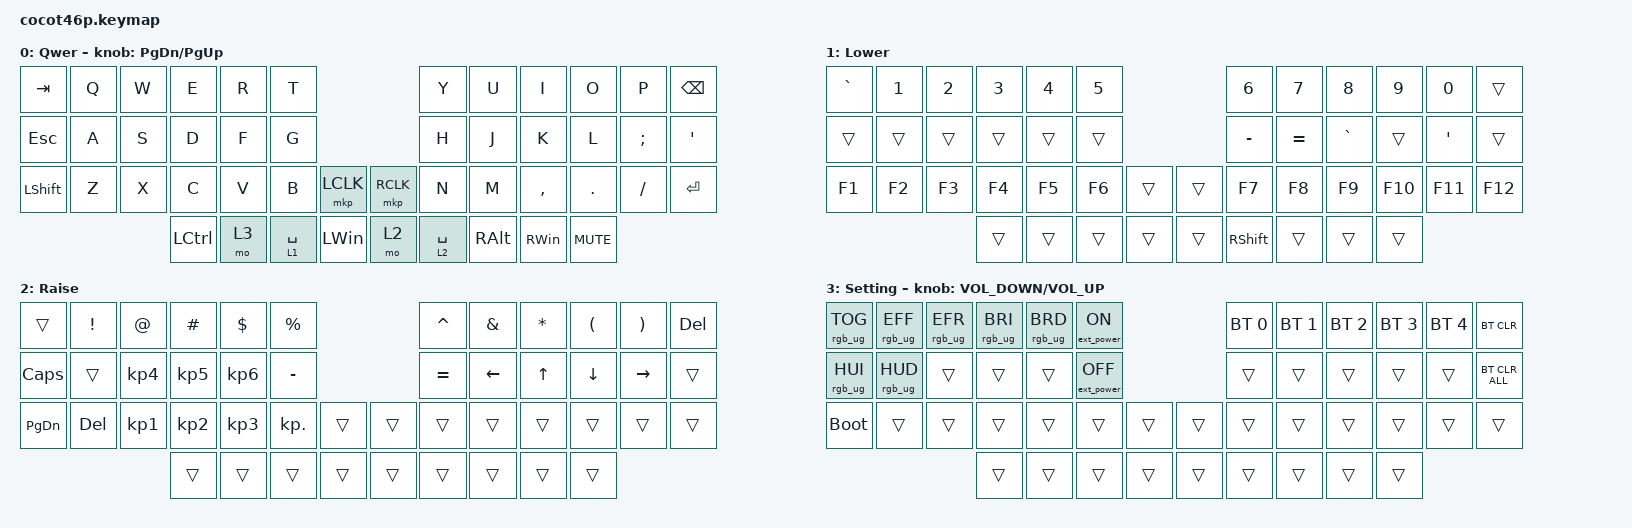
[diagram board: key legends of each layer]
/*
 * Copyright (c) 2021 The ZMK Contributors
 *
 * SPDX-License-Identifier: MIT
 */

#include <behaviors/mouse_keys.dtsi>
#include <dt-bindings/zmk/mouse.h>
#include <behaviors.dtsi>
#include <dt-bindings/zmk/bt.h>
#include <dt-bindings/zmk/ext_power.h>
#include <dt-bindings/zmk/keys.h>
#include <dt-bindings/zmk/rgb.h>

/ {
    combos { compatible = "zmk,combos"; };

    behaviors {
        hm: homerow_mods {
            compatible = "zmk,behavior-hold-tap";
            label = "HOMEROW_MODS";
            bindings = <&kp>, <&kp>;

            #binding-cells = <2>;
            tapping-term-ms = <200>;
            quick-tap-ms = <180>;
            flavor = "tap-preferred";
        };

        ltq: ltq {
            compatible = "zmk,behavior-hold-tap";
            label = "LTQ";
            bindings = <&mo>, <&kp>;

            #binding-cells = <2>;
            tapping-term-ms = <200>;
            quick-tap-ms = <180>;
        };

        as: auto_shift {
            compatible = "zmk,behavior-hold-tap";
            label = "AUTO_SHIFT";
            bindings = <&kp>, <&kp>;

            #binding-cells = <2>;
            tapping-term-ms = <135>;
            quick-tap-ms = <0>;
        };
    };

    keymap {
        compatible = "zmk,keymap";

        Qwer {
            bindings = <
&kp TAB         &kp Q  &kp W  &kp E      &kp R  &kp T                                 &kp Y        &kp U     &kp I          &kp O       &kp P          &kp BSPC
&kp ESCAPE      &kp A  &kp S  &kp D      &kp F  &kp G                                 &kp H        &kp J     &kp K          &kp L       &kp SEMICOLON  &kp SINGLE_QUOTE
&kp LEFT_SHIFT  &kp Z  &kp X  &kp C      &kp V  &kp B        &mkp LCLK     &mkp RCLK  &kp N        &kp M     &kp COMMA      &kp PERIOD  &kp SLASH      &kp ENTER
                              &kp LCTRL  &mo 3  &lt 1 SPACE  &kp LEFT_WIN  &mo 2      &lt 2 SPACE  &kp RALT  &kp RIGHT_WIN  &kp C_MUTE
            >;

            sensor-bindings = <&inc_dec_kp PAGE_DOWN PAGE_UP>;
            label = "Qwer";
        };

        Lower {
            bindings = <
&kp GRAVE  &kp NUMBER_1  &kp NUMBER_2  &kp NUMBER_3  &kp NUMBER_4  &kp N5                  &kp NUMBER_6  &kp N7     &kp N8     &kp N9   &kp N0   &trans
&trans     &trans        &trans        &trans        &trans        &trans                  &kp MINUS     &kp EQUAL  &kp GRAVE  &trans   &kp SQT  &trans
&kp F1     &kp F2        &kp F3        &kp F4        &kp F5        &kp F6  &trans  &trans  &kp F7        &kp F8     &kp F9     &kp F10  &kp F11  &kp F12
                                       &trans        &trans        &trans  &trans  &trans  &kp RSHFT     &trans     &trans     &trans
            >;

            label = "Lower";
        };

        Raise {
            bindings = <
&trans         &kp EXCLAMATION  &kp AT_SIGN      &kp HASH         &kp DOLLAR       &kp PERCENT                  &kp CARET  &kp AMPERSAND  &kp ASTERISK  &kp LEFT_PARENTHESIS  &kp RIGHT_PARENTHESIS  &kp DELETE
&kp CAPSLOCK   &trans           &kp KP_NUMBER_4  &kp KP_NUMBER_5  &kp KP_NUMBER_6  &kp MINUS                    &kp EQUAL  &kp LEFT       &kp UP_ARROW  &kp DOWN              &kp RIGHT              &trans
&kp PAGE_DOWN  &kp DEL          &kp KP_NUMBER_1  &kp KP_NUMBER_2  &kp KP_NUMBER_3  &kp KP_DOT   &trans  &trans  &trans     &trans         &trans        &trans                &trans                 &trans
                                                 &trans           &trans           &trans       &trans  &trans  &trans     &trans         &trans        &trans
            >;

            label = "Raise";
        };

        Setting {
            bindings = <
&rgb_ug RGB_TOG  &rgb_ug RGB_EFF  &rgb_ug RGB_EFR  &rgb_ug RGB_BRI  &rgb_ug RGB_BRD  &ext_power EP_ON                   &bt BT_SEL 0  &bt BT_SEL 1  &bt BT_SEL 2  &bt BT_SEL 3  &bt BT_SEL 4  &bt BT_CLR
&rgb_ug RGB_HUI  &rgb_ug RGB_HUD  &trans           &trans           &trans           &ext_power EP_OFF                  &trans        &trans        &trans        &trans        &trans        &bt BT_CLR_ALL
&bootloader      &trans           &trans           &trans           &trans           &trans             &trans  &trans  &trans        &trans        &trans        &trans        &trans        &trans
                                                   &trans           &trans           &trans             &trans  &trans  &trans        &trans        &trans        &trans
            >;

            label = "Setting";
            sensor-bindings = <&inc_dec_kp K_VOLUME_DOWN K_VOLUME_UP>;
        };
    };
};
